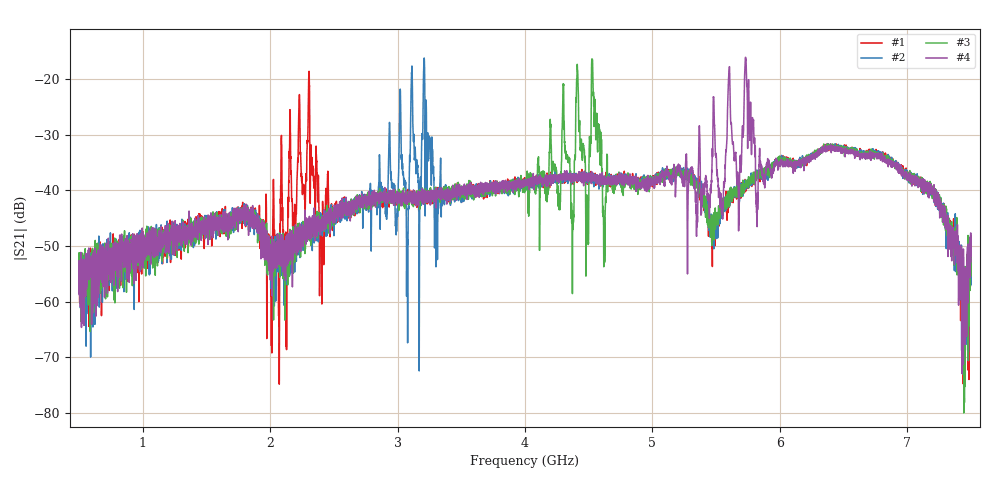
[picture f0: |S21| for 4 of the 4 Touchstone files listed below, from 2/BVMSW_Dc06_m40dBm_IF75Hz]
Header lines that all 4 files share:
!Keysight Technologies,M9374A,MY55442783,A.12.55.05
!Correction: S11(Full 2 Port(1,2))
!S21(Full 2 Port(1,2))
!S12(Full 2 Port(1,2))
!S22(Full 2 Port(1,2))
!S2P File: Measurements: S11, S21, S12, S22:
# Hz S  RI  R 50
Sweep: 500 MHz to 7.5 GHz
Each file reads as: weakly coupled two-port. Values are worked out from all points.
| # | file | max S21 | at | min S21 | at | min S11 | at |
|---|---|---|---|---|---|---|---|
| 1 | BVMSW_Dc06_i1.s2p | -18.62 dB | 2.306 GHz | -74.8 dB | 2.072 GHz | -21.3 dB | 2.308 GHz |
| 2 | BVMSW_Dc06_i2.s2p | -16.22 dB | 3.209 GHz | -73.8 dB | 7.449 GHz | -26.3 dB | 3.114 GHz |
| 3 | BVMSW_Dc06_i3.5.s2p | -16.42 dB | 4.524 GHz | -80.0 dB | 7.443 GHz | -24.8 dB | 4.414 GHz |
| 4 | BVMSW_Dc06_i5.s2p | -16.08 dB | 5.73 GHz | -72.9 dB | 7.429 GHz | -22.4 dB | 5.606 GHz |
